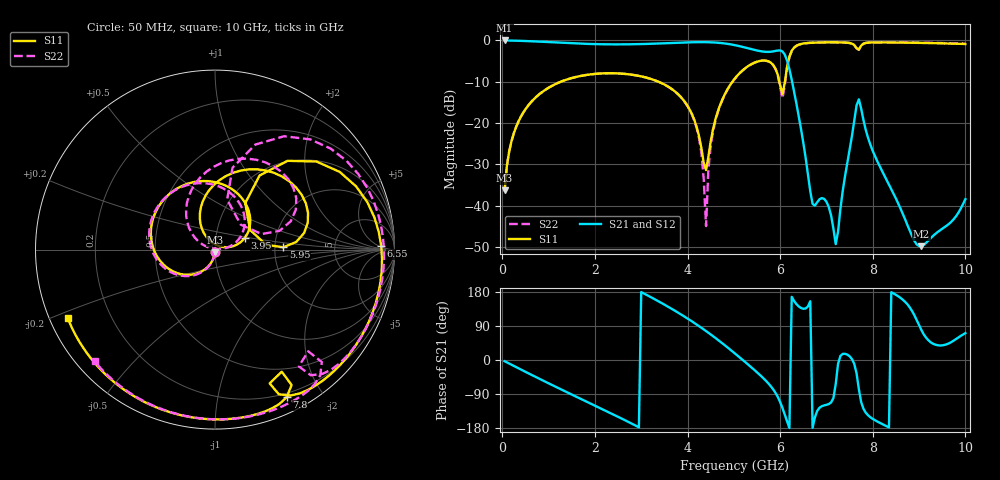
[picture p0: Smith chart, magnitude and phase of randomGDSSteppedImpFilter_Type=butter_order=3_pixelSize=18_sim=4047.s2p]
! freq	dB(S11)	phase(S11)	dB(S12)	phase(S12)
!  dB(S21)	phase(S21)	dB(S22)	phase(S22)
!S-par simulation data
#  GHz  S  DB  R 50
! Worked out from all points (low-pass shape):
!   200 points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, 50 MHz to 10 GHz, reference 50 ohm
!   highest |S21| = -0.01 dB at 50 MHz (marker M1); lowest = -49.8 dB at 9.05 GHz (marker M2)
!   |S21| within 3 dB of the highest: start of sweep to 6.072 GHz
!   lowest |S11| = -36.3 dB at 50 MHz (marker M3), VSWR 1.03, Z = 49.9 - j1.53 ohm
!   |S11| at or under -10 dB: start of sweep to 1.264 GHz; 3.373 GHz to 4.969 GHz (1.596 GHz wide, 38.3 % of centre); 5.983 GHz to 6.103 GHz (119.7 MHz wide, 1.98 % of centre)
!   |S22| runs from -45.0 to -0.4 dB; largest |S21 - S12| = 0
!   S11 on the Smith chart (normalised r, x): 50 MHz: 1.00, -0.03; 3.95 GHz: 1.38, +0.18; 5.95 GHz: 2.23, +0.07; 6.55 GHz: 24, +7; 7.8 GHz: 0.16, -1.59; 10 GHz: 0.05, -0.22
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0.05  -36.28 -92.9  -0.01 -3.2  -0.01 -3.2  -36.26 -92.6
0.5  -16.67 -122.5  -0.14 -31.2  -0.14 -31.2  -16.67 -120.8
1.75  -8.48 160.6  -0.80 -105.7  -0.80 -105.7  -8.48 166.7
3.4  -10.13 57.9  -0.74 153.0  -0.74 153.0  -10.13 69.0
3.95  -15.01 21.3  -0.49 113.3  -0.49 113.3  -15.06 30.6
4.25  -23.24 11.1  -0.41 89.2  -0.41 89.2  -23.76 8.8
4.4  -31.40 74.8  -0.42 76.4  -0.42 76.4  -44.96 105.4
4.45  -28.19 108.6  -0.43 71.9  -0.43 71.9  -31.22 161.3
4.55  -21.52 124.2  -0.48 62.9  -0.48 62.9  -22.11 157.2
5.05  -8.83 90.8  -1.21 14.6  -1.21 14.6  -8.90 111.2
5.95  -8.39 1.9  -2.44 -97.8  -2.44 -97.8  -8.54 16.2
6.05  -13.00 29.2  -2.67 -126.6  -2.67 -126.6  -13.99 44.2
6.2  -3.89 50.8  -6.99 -179.5  -6.99 -179.5  -4.05 69.0
6.55  -0.67 1.3  -28.38 135.9  -28.38 135.9  -0.69 17.3
6.7  -0.54 -11.1  -39.58 -178.8  -39.58 -178.8  -0.56 4.4
7  -0.46 -31.0  -39.07 -118.3  -39.07 -118.3  -0.46 -16.3
7.2  -0.46 -42.5  -49.33 -63.1  -49.33 -63.1  -0.45 -28.2
7.65  -1.88 -67.8  -15.73 -35.4  -15.73 -35.4  -1.93 -54.3
7.8  -0.79 -64.0  -19.35 -129.1  -19.35 -129.1  -0.79 -50.1
8.35  -0.48 -90.8  -34.88 -177.9  -34.88 -177.9  -0.45 -77.0
9.05  -0.60 -118.0  -49.83 79.2  -49.83 79.2  -0.54 -103.4
10  -0.87 -155.2  -38.45 70.9  -38.45 70.9  -0.77 -137.1
